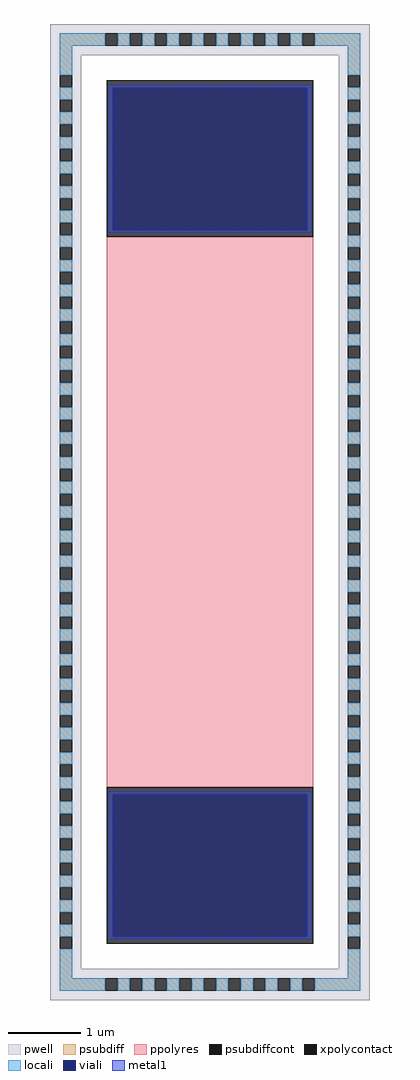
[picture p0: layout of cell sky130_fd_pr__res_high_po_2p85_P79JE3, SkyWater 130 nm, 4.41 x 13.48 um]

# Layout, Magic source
magic
tech sky130A
magscale 1 2
<< pwell >>
rect -441 1262 441 1348
rect -441 -1262 -355 1262
rect 355 -1262 441 1262
rect -441 -1348 441 -1262
<< psubdiff >>
rect -415 1288 -289 1322
rect -255 1288 -221 1322
rect -187 1288 -153 1322
rect -119 1288 -85 1322
rect -51 1288 -17 1322
rect 17 1288 51 1322
rect 85 1288 119 1322
rect 153 1288 187 1322
rect 221 1288 255 1322
rect 289 1288 415 1322
rect -415 1207 -381 1288
rect 381 1207 415 1288
rect -415 1139 -381 1173
rect -415 1071 -381 1105
rect -415 1003 -381 1037
rect -415 935 -381 969
rect -415 867 -381 901
rect -415 799 -381 833
rect -415 731 -381 765
rect -415 663 -381 697
rect -415 595 -381 629
rect -415 527 -381 561
rect -415 459 -381 493
rect -415 391 -381 425
rect -415 323 -381 357
rect -415 255 -381 289
rect -415 187 -381 221
rect -415 119 -381 153
rect -415 51 -381 85
rect -415 -17 -381 17
rect -415 -85 -381 -51
rect -415 -153 -381 -119
rect -415 -221 -381 -187
rect -415 -289 -381 -255
rect -415 -357 -381 -323
rect -415 -425 -381 -391
rect -415 -493 -381 -459
rect -415 -561 -381 -527
rect -415 -629 -381 -595
rect -415 -697 -381 -663
rect -415 -765 -381 -731
rect -415 -833 -381 -799
rect -415 -901 -381 -867
rect -415 -969 -381 -935
rect -415 -1037 -381 -1003
rect -415 -1105 -381 -1071
rect -415 -1173 -381 -1139
rect 381 1139 415 1173
rect 381 1071 415 1105
rect 381 1003 415 1037
rect 381 935 415 969
rect 381 867 415 901
rect 381 799 415 833
rect 381 731 415 765
rect 381 663 415 697
rect 381 595 415 629
rect 381 527 415 561
rect 381 459 415 493
rect 381 391 415 425
rect 381 323 415 357
rect 381 255 415 289
rect 381 187 415 221
rect 381 119 415 153
rect 381 51 415 85
rect 381 -17 415 17
rect 381 -85 415 -51
rect 381 -153 415 -119
rect 381 -221 415 -187
rect 381 -289 415 -255
rect 381 -357 415 -323
rect 381 -425 415 -391
rect 381 -493 415 -459
rect 381 -561 415 -527
rect 381 -629 415 -595
rect 381 -697 415 -663
rect 381 -765 415 -731
rect 381 -833 415 -799
rect 381 -901 415 -867
rect 381 -969 415 -935
rect 381 -1037 415 -1003
rect 381 -1105 415 -1071
rect 381 -1173 415 -1139
rect -415 -1288 -381 -1207
rect 381 -1288 415 -1207
rect -415 -1322 -289 -1288
rect -255 -1322 -221 -1288
rect -187 -1322 -153 -1288
rect -119 -1322 -85 -1288
rect -51 -1322 -17 -1288
rect 17 -1322 51 -1288
rect 85 -1322 119 -1288
rect 153 -1322 187 -1288
rect 221 -1322 255 -1288
rect 289 -1322 415 -1288
<< psubdiffcont >>
rect -289 1288 -255 1322
rect -221 1288 -187 1322
rect -153 1288 -119 1322
rect -85 1288 -51 1322
rect -17 1288 17 1322
rect 51 1288 85 1322
rect 119 1288 153 1322
rect 187 1288 221 1322
rect 255 1288 289 1322
rect -415 1173 -381 1207
rect -415 1105 -381 1139
rect -415 1037 -381 1071
rect -415 969 -381 1003
rect -415 901 -381 935
rect -415 833 -381 867
rect -415 765 -381 799
rect -415 697 -381 731
rect -415 629 -381 663
rect -415 561 -381 595
rect -415 493 -381 527
rect -415 425 -381 459
rect -415 357 -381 391
rect -415 289 -381 323
rect -415 221 -381 255
rect -415 153 -381 187
rect -415 85 -381 119
rect -415 17 -381 51
rect -415 -51 -381 -17
rect -415 -119 -381 -85
rect -415 -187 -381 -153
rect -415 -255 -381 -221
rect -415 -323 -381 -289
rect -415 -391 -381 -357
rect -415 -459 -381 -425
rect -415 -527 -381 -493
rect -415 -595 -381 -561
rect -415 -663 -381 -629
rect -415 -731 -381 -697
rect -415 -799 -381 -765
rect -415 -867 -381 -833
rect -415 -935 -381 -901
rect -415 -1003 -381 -969
rect -415 -1071 -381 -1037
rect -415 -1139 -381 -1105
rect -415 -1207 -381 -1173
rect 381 1173 415 1207
rect 381 1105 415 1139
rect 381 1037 415 1071
rect 381 969 415 1003
rect 381 901 415 935
rect 381 833 415 867
rect 381 765 415 799
rect 381 697 415 731
rect 381 629 415 663
rect 381 561 415 595
rect 381 493 415 527
rect 381 425 415 459
rect 381 357 415 391
rect 381 289 415 323
rect 381 221 415 255
rect 381 153 415 187
rect 381 85 415 119
rect 381 17 415 51
rect 381 -51 415 -17
rect 381 -119 415 -85
rect 381 -187 415 -153
rect 381 -255 415 -221
rect 381 -323 415 -289
rect 381 -391 415 -357
rect 381 -459 415 -425
rect 381 -527 415 -493
rect 381 -595 415 -561
rect 381 -663 415 -629
rect 381 -731 415 -697
rect 381 -799 415 -765
rect 381 -867 415 -833
rect 381 -935 415 -901
rect 381 -1003 415 -969
rect 381 -1071 415 -1037
rect 381 -1139 415 -1105
rect 381 -1207 415 -1173
rect -289 -1322 -255 -1288
rect -221 -1322 -187 -1288
rect -153 -1322 -119 -1288
rect -85 -1322 -51 -1288
rect -17 -1322 17 -1288
rect 51 -1322 85 -1288
rect 119 -1322 153 -1288
rect 187 -1322 221 -1288
rect 255 -1322 289 -1288
<< xpolycontact >>
rect -285 760 285 1192
rect -285 -1192 285 -760
<< ppolyres >>
rect -285 -760 285 760
<< locali >>
rect -415 1288 -289 1322
rect -255 1288 -221 1322
rect -187 1288 -153 1322
rect -119 1288 -85 1322
rect -51 1288 -17 1322
rect 17 1288 51 1322
rect 85 1288 119 1322
rect 153 1288 187 1322
rect 221 1288 255 1322
rect 289 1288 415 1322
rect -415 1207 -381 1288
rect 381 1207 415 1288
rect -415 1139 -381 1173
rect -415 1071 -381 1105
rect -415 1003 -381 1037
rect -415 935 -381 969
rect -415 867 -381 901
rect -415 799 -381 833
rect -415 731 -381 765
rect 381 1139 415 1173
rect 381 1071 415 1105
rect 381 1003 415 1037
rect 381 935 415 969
rect 381 867 415 901
rect 381 799 415 833
rect -415 663 -381 697
rect -415 595 -381 629
rect -415 527 -381 561
rect -415 459 -381 493
rect -415 391 -381 425
rect -415 323 -381 357
rect -415 255 -381 289
rect -415 187 -381 221
rect -415 119 -381 153
rect -415 51 -381 85
rect -415 -17 -381 17
rect -415 -85 -381 -51
rect -415 -153 -381 -119
rect -415 -221 -381 -187
rect -415 -289 -381 -255
rect -415 -357 -381 -323
rect -415 -425 -381 -391
rect -415 -493 -381 -459
rect -415 -561 -381 -527
rect -415 -629 -381 -595
rect -415 -697 -381 -663
rect -415 -765 -381 -731
rect 381 731 415 765
rect 381 663 415 697
rect 381 595 415 629
rect 381 527 415 561
rect 381 459 415 493
rect 381 391 415 425
rect 381 323 415 357
rect 381 255 415 289
rect 381 187 415 221
rect 381 119 415 153
rect 381 51 415 85
rect 381 -17 415 17
rect 381 -85 415 -51
rect 381 -153 415 -119
rect 381 -221 415 -187
rect 381 -289 415 -255
rect 381 -357 415 -323
rect 381 -425 415 -391
rect 381 -493 415 -459
rect 381 -561 415 -527
rect 381 -629 415 -595
rect 381 -697 415 -663
rect -415 -833 -381 -799
rect -415 -901 -381 -867
rect -415 -969 -381 -935
rect -415 -1037 -381 -1003
rect -415 -1105 -381 -1071
rect -415 -1173 -381 -1139
rect 381 -765 415 -731
rect 381 -833 415 -799
rect 381 -901 415 -867
rect 381 -969 415 -935
rect 381 -1037 415 -1003
rect 381 -1105 415 -1071
rect 381 -1173 415 -1139
rect -415 -1288 -381 -1207
rect 381 -1288 415 -1207
rect -415 -1322 -289 -1288
rect -255 -1322 -221 -1288
rect -187 -1322 -153 -1288
rect -119 -1322 -85 -1288
rect -51 -1322 -17 -1288
rect 17 -1322 51 -1288
rect 85 -1322 119 -1288
rect 153 -1322 187 -1288
rect 221 -1322 255 -1288
rect 289 -1322 415 -1288
<< viali >>
rect -269 778 269 1172
rect -269 -1173 269 -779
<< metal1 >>
rect -281 1172 281 1180
rect -281 778 -269 1172
rect 269 778 281 1172
rect -281 771 281 778
rect -281 -779 281 -771
rect -281 -1173 -269 -779
rect 269 -1173 281 -779
rect -281 -1180 281 -1173
<< properties >>
string FIXED_BBOX -398 -1305 398 1305
<< end >>
